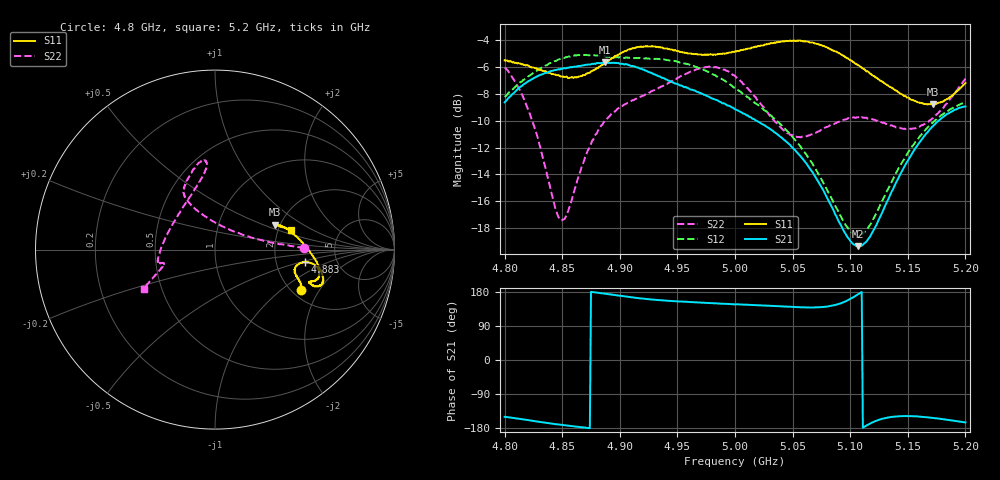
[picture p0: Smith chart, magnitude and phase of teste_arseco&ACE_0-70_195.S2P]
! Network Analyzer HP8722D
! Hewlett-Packard
! Data name: Linha & Wilkinson
! Saver's name: Rodrigo Anjos
! Comments: Teste da utilização de aquisição
! continua pelo VNA HP8722D
! Time and date: 8/5/2025 14:23
!  Frequency  S11  S21  S12  S22
# HZ  S  MA R 50
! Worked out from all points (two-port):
!   401 points, 4.8 GHz to 5.2 GHz, reference 50 ohm
!   highest |S21| = -5.66 dB at 4.887 GHz (marker M1); lowest = -19.3 dB at 5.107 GHz (marker M2)
!   |S21| within 3 dB of the highest: start of sweep to 4.988 GHz
!   lowest |S11| = -8.8 dB at 5.172 GHz (marker M3), VSWR 2.14, Z = 94.3 + j30.2 ohm
!   |S11| at or under -10 dB: nowhere
!   |S22| runs from -17.4 to -6.0 dB; largest |S21 - S12| = 1.1
!   S11 on the Smith chart (normalised r, x): 4.8 GHz: 2.24, -1.41; 4.883 GHz: 2.92, -0.56; 5.2 GHz: 2.34, +0.64
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4.8e9  0.5307 -25.1  0.37 -150.0  0.388 9.5  0.4981 1.2
4.811e9  0.5167 -22.5  0.4133 -154.4  0.4292 7.8  0.4275 2.7
4.821e9  0.5062 -20.6  0.4448 -159.0  0.4636 6.4  0.3425 5.9
4.848e9  0.4631 -16.1  0.4903 -170.7  0.5361 2.2  0.1368 56.8
4.854e9  0.4616 -14.4  0.4973 -173.0  0.5453 1.2  0.1423 81.7
4.867e9  0.4636 -10.8  0.5072 -177.6  0.5542 -0.7  0.2146 110.3
4.883e9  0.505 -8.1  0.5183 176.5  0.5506 -2.0  0.2987 119.1
4.887e9  0.5194 -7.8  0.5215 175.0  0.5503 -1.8  0.315 119.6
4.91e9  0.5863 -10.7  0.5048 165.7  0.542 -1.7  0.3747 117.9
4.934e9  0.5931 -16.0  0.4625 157.8  0.5374 -2.3  0.4199 111.4
4.976e9  0.557 -18.9  0.3906 150.7  0.4819 -5.9  0.5008 98.1
5e9  0.5724 -19.9  0.3485 146.8  0.4202 -5.9  0.4638 96.1
5.018e9  0.5968 -19.9  0.3168 144.9  0.367 -3.2  0.3869 103.2
5.044e9  0.6267 -18.0  0.2657 141.0  0.2929 2.3  0.2882 131.7
5.067e9  0.6183 -13.6  0.2044 138.7  0.22 9.1  0.2815 164.7
5.096e9  0.5448 -3.5  0.12 154.7  0.1295 35.2  0.3198 -171.6
5.107e9  0.5085 1.6  0.108 173.8  0.1184 56.4  0.3257 -168.1
5.117e9  0.4742 6.8  0.1167 -168.2  0.129 75.9  0.3213 -166.5
5.134e9  0.4238 15.1  0.1648 -151.1  0.18 94.5  0.3039 -165.8
5.155e9  0.376 21.7  0.2436 -148.5  0.2576 100.9  0.2962 -164.1
5.172e9  0.3637 22.5  0.3021 -152.9  0.3126 101.5  0.3234 -159.9
5.2e9  0.4369 14.8  0.3573 -164.7  0.3711 101.9  0.453 -151.0
